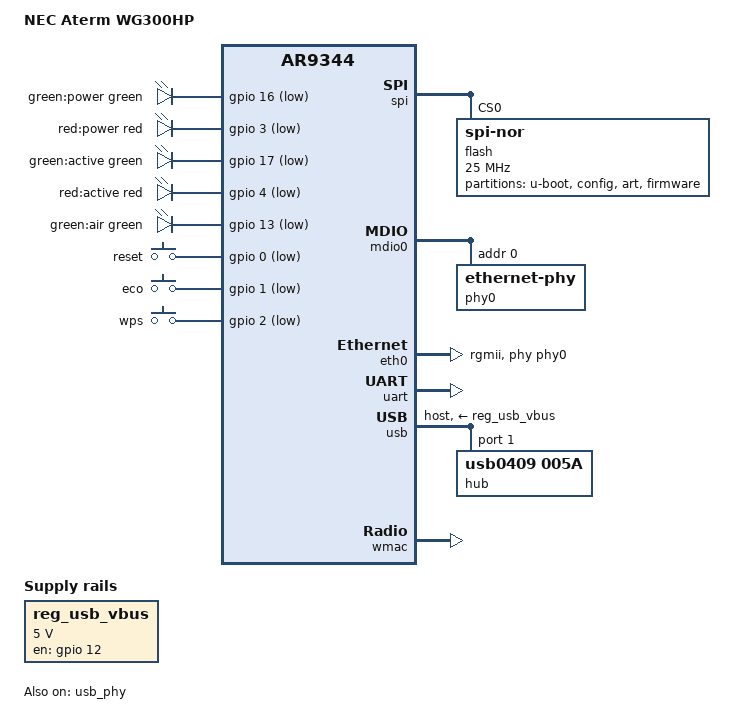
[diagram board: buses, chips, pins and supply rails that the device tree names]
// SPDX-License-Identifier: GPL-2.0-or-later OR MIT

#include <dt-bindings/gpio/gpio.h>
#include <dt-bindings/input/input.h>
#include <dt-bindings/leds/common.h>

#include "ar9344.dtsi"

/ {
	compatible = "nec,wg300hp", "qca,ar9344";
	model = "NEC Aterm WG300HP";

	chosen {
		bootargs = "console=ttyS0,9600";
	};

	aliases {
		led-boot = &led_power_green;
		led-failsafe = &led_power_red;
		led-running = &led_power_green;
		led-upgrade = &led_power_green;
	};

	leds {
		compatible = "gpio-leds";

		led_power_green: led-0 {
			label = "green:power";
			gpios = <&gpio 16 GPIO_ACTIVE_LOW>;
			color = <LED_COLOR_ID_GREEN>;
			function = LED_FUNCTION_POWER;
			default-state = "on";
		};

		led_power_red: led-1 {
			label = "red:power";
			gpios = <&gpio 3 GPIO_ACTIVE_LOW>;
			color = <LED_COLOR_ID_RED>;
			function = LED_FUNCTION_POWER;
		};

		led-2 {
			label = "green:active";
			gpios = <&gpio 17 GPIO_ACTIVE_LOW>;
			color = <LED_COLOR_ID_GREEN>;
			function = LED_FUNCTION_ACTIVITY;
		};

		led-3 {
			label = "red:active";
			gpios = <&gpio 4 GPIO_ACTIVE_LOW>;
			color = <LED_COLOR_ID_RED>;
			function = LED_FUNCTION_ACTIVITY;
		};

		led-4 {
			label = "green:air";
			gpios = <&gpio 13 GPIO_ACTIVE_LOW>;
			color = <LED_COLOR_ID_GREEN>;
			function = LED_FUNCTION_WLAN;
			function-enumerator = <1>;
			linux,default-trigger = "phy0tpt";
		};
	};

	keys {
		compatible = "gpio-keys";
		pinctrl-names = "default";
		pinctrl-0 = <&jtag_disable_pins>;

		reset {
			label = "reset";
			gpios = <&gpio 0 GPIO_ACTIVE_LOW>;
			linux,code = <KEY_RESTART>;
			debounce-interval = <60>;
		};

		eco {
			label = "eco";
			gpios = <&gpio 1 GPIO_ACTIVE_LOW>;
			linux,code = <BTN_0>;
			debounce-interval = <60>;
		};

		wps {
			label = "wps";
			gpios = <&gpio 2 GPIO_ACTIVE_LOW>;
			linux,code = <KEY_WPS_BUTTON>;
			debounce-interval = <60>;
		};
	};

	reg_usb_vbus: regulator {
		compatible = "regulator-fixed";

		regulator-name = "usb-vbus";
		regulator-min-microvolt = <5000000>;
		regulator-max-microvolt = <5000000>;

		gpio = <&gpio 12 GPIO_ACTIVE_HIGH>;
		enable-active-high;

		regulator-always-on;
	};
};

&ref {
	clock-frequency = <40000000>;
};

&spi {
	status = "okay";

	flash@0 {
		compatible = "jedec,spi-nor";
		reg = <0>;
		spi-max-frequency = <25000000>;

		partitions {
			compatible = "fixed-partitions";
			#address-cells = <1>;
			#size-cells = <1>;

			/*
			 * OEM bootloader cannot boot OpenWrt from the flash,
			 * need to replace the bootloader to u-boot at the first
			 */
			partition@0 {
				label = "u-boot";
				reg = <0x000000 0x020000>;
			};

			/* no compatibility with u-boot */
			config: partition@20000 {
				label = "config";
				reg = <0x020000 0x010000>;
				read-only;

				compatible = "nvmem-cells";
				#address-cels = <1>;
				#size-cells = <1>;

				macaddr_config_0: macaddr@0 {
					reg = <0x0 0x6>;
				};

				macaddr_config_6: macaddr@6 {
					reg = <0x6 0x6>;
				};
			};

			partition@30000 {
				label = "art";
				reg = <0x030000 0x010000>;
				read-only;

				compatible = "nvmem-cells";
				#address-cells = <1>;
				#size-cells = <1>;

				cal_art_1000: calibration@1000 {
					reg = <0x1000 0x440>;
				};
			};

			partition@40000 {
				compatible = "denx,uimage";
				label = "firmware";
				reg = <0x040000 0x3c0000>;
			};
		};
	};
};

&mdio0 {
	status = "okay";

	phy0: ethernet-phy@0 {
		reg = <0>;

		qca,ar8327-initvals = <
			0x04 0x07a00000 /* PORT0 PAD MODE CTRL */
			0x50 0xcf37cf37 /* LED_CTRL0 */
			0x54 0x00000000 /* LED_CTRL1 */
			0x58 0x00000000 /* LED_CTRL2 */
			0x5c 0x03ffff00 /* LED_CTRL3 */
			0x7c 0x0000007e /* PORT0_STATUS */
		>;
	};
};

&eth0 {
	status = "okay";

	pll-data = <0x06000000 0x00000101 0x00001616>;

	phy-mode = "rgmii";
	phy-handle = <&phy0>;

	nvmem-cells = <&macaddr_config_6>;
	nvmem-cell-names = "mac-address";

	gmac-config {
		device = <&gmac>;

		rgmii-gmac0 = <1>;
	};
};

&uart {
	status = "okay";
};

&usb_phy {
	status = "okay";
};

&usb {
	status = "okay";
	#address-cells = <1>;
	#size-cells = <0>;

	dr_mode = "host";
	vbus-supply = <&reg_usb_vbus>;

	hub@1 {
		compatible = "usb0409,005a";
		reg = <1>;
	};
};

&wmac {
	status = "okay";

	nvmem-cells = <&cal_art_1000>, <&macaddr_config_0>;
	nvmem-cell-names = "calibration", "mac-address";
};
